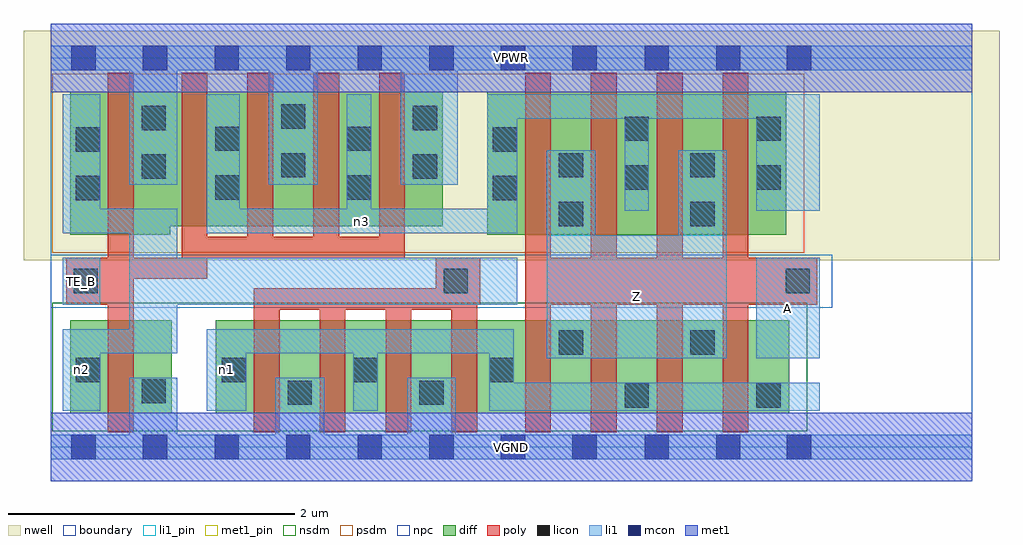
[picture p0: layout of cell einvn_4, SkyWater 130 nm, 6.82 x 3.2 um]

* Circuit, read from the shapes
.subckt einvn_4 A TE_B VGND VPWR Z n1 n2 n3
XM1 VGND TE_B n2 VSUBS sky130_fd_pr__nfet_01v8 w=0.65 l=0.18
XM2 VGND n2 n1 VSUBS sky130_fd_pr__nfet_01v8 w=0.65 l=0.18 m=4
XM3 Z A n1 VSUBS sky130_fd_pr__nfet_01v8 w=0.65 l=0.18 m=4
XM4 VPWR TE_B n2 n4 sky130_fd_pr__pfet_01v8 w=1 l=0.18
XM5 n3 TE_B VPWR n4 sky130_fd_pr__pfet_01v8 w=0.94 l=0.18 m=4
XM6 Z A n3 n4 sky130_fd_pr__pfet_01v8 w=1 l=0.18 m=4
.ends

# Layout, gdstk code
import gdstk
lib = gdstk.Library(unit=1e-6, precision=1e-09)
def R(c, l, rs):  # rectangles x0, y0, x1, y1
    for r in rs: c.add(gdstk.rectangle(r[:2], r[2:], *l))
def A(c, l, x, y, w, h, nx, ny, dx, dy):  # array of equal rectangles
    R(c, l, [(x+i*dx, y+j*dy, x+i*dx+w, y+j*dy+h) for i in range(nx) for j in range(ny)])
nwell = (64, 20)
diff = (65, 20)
poly = (66, 20)
licon = (66, 44)
li1_pin = (67, 16)
li1 = (67, 20)
mcon = (67, 44)
met1_pin = (68, 16)
met1 = (68, 20)
nsdm = (93, 44)
psdm = (94, 20)
npc = (95, 20)
boundary = (235, 4)

einvn_4 = lib.new_cell('einvn_4')
R(einvn_4, nwell, [(-0.19,1.305,6.63,2.91), (0,1.305,6.44,2.91)])
R(einvn_4, diff, [(0.135,0.235,0.845,0.885), (1.155,0.235,5.16,0.885), (0.135,1.485,0.835,2.485), (3.05,1.485,5.14,2.485), (0.135,1.545,2.74,2.485)])
A(einvn_4, poly, 1.42, 0.105, 0.18, 1.005, 3, 1, 0.46, 0)
A(einvn_4, poly, 3.315, 0.105, 0.18, 2.51, 4, 1, 0.46, 0)
A(einvn_4, poly, 1.375, 1.32, 0.18, 1.295, 3, 1, 0.46, 0)
R(einvn_4, poly, [(0.4,0.105,0.58,2.615), (2.8,0.105,2.98,1.325), (1.42,0.96,2.98,1.11), (0.11,0.995,0.58,1.325), (2.69,0.995,3,1.325), (3.315,0.995,5.355,1.325), (0.11,1.175,1.095,1.325), (0.915,1.175,1.095,2.615), (0.915,1.32,2.475,1.47)])
R(einvn_4, licon, [(4.01,0.275,4.18,0.445), (4.93,0.275,5.1,0.445), (1.655,0.295,1.825,0.465), (2.575,0.295,2.745,0.465), (0.635,0.305,0.805,0.475), (0.175,0.455,0.345,0.625), (1.195,0.455,1.365,0.625), (2.115,0.455,2.285,0.625), (3.065,0.455,3.235,0.625), (3.55,0.645,3.72,0.815), (4.47,0.645,4.64,0.815), (0.16,1.075,0.33,1.245), (2.745,1.075,2.915,1.245), (5.135,1.075,5.305,1.245), (3.55,1.545,3.72,1.715), (4.47,1.545,4.64,1.715), (0.175,1.725,0.345,1.895), (3.09,1.725,3.26,1.895), (1.15,1.73,1.32,1.9), (2.07,1.73,2.24,1.9), (4.01,1.8,4.18,1.97), (4.93,1.8,5.1,1.97), (0.635,1.875,0.805,2.045), (2.53,1.875,2.7,2.045), (1.61,1.885,1.78,2.055), (3.55,1.885,3.72,2.055), (4.47,1.885,4.64,2.055), (0.175,2.065,0.345,2.235), (3.09,2.065,3.26,2.235), (1.15,2.07,1.32,2.24), (2.07,2.07,2.24,2.24), (4.01,2.14,4.18,2.31), (4.93,2.14,5.1,2.31), (0.635,2.215,0.805,2.385), (2.53,2.215,2.7,2.385), (1.61,2.225,1.78,2.395)])
R(einvn_4, li1_pin, [(3.465,0.62,4.725,1.48), (4.93,0.62,5.375,1.325), (0.085,0.995,0.345,1.325)])
R(einvn_4, li1, [(0,-0.085,6.44,0.085), (0.55,-0.085,0.885,0.485), (1.57,-0.085,1.91,0.485), (2.49,-0.085,2.83,0.485), (0.085,0.255,0.345,0.825), (1.09,0.255,1.365,0.825), (2.115,0.255,2.285,0.825), (3.065,0.255,3.235,0.825), (3.065,0.255,5.375,0.45), (3.465,0.62,4.725,1.48), (3.465,0.62,3.805,2.075), (4.385,0.62,4.725,2.075), (4.93,0.62,5.375,1.325), (0.085,0.655,0.885,0.825), (0.55,0.655,0.885,1.665), (1.09,0.655,3.235,0.825), (0.085,0.995,0.345,1.325), (0.55,0.995,3.26,1.325), (0.085,1.495,0.885,1.665), (0.085,1.495,0.345,2.465), (1.09,1.495,3.26,1.665), (1.09,1.495,1.32,2.465), (2.07,1.495,2.24,2.465), (3.05,1.495,3.26,2.465), (4.01,1.65,4.18,2.465), (4.93,1.65,5.375,2.465), (0.55,1.835,0.885,2.805), (1.525,1.835,1.865,2.805), (2.445,1.835,2.845,2.805), (3.05,2.295,5.375,2.465), (0,2.635,6.44,2.805)])
A(einvn_4, mcon, 0.145, -0.085, 0.17, 0.17, 8, 2, 0.5, 2.72)
R(einvn_4, mcon, [(4.15,-0.085,4.32,0.085), (4.65,-0.085,4.82,0.085), (5.145,-0.085,5.315,0.085), (4.15,2.635,4.32,2.805), (4.65,2.635,4.82,2.805), (5.145,2.635,5.315,2.805)])
R(einvn_4, met1_pin, [(0,-0.24,6.44,0.24), (0,2.48,6.44,2.96)])
R(einvn_4, met1, [(0,-0.24,6.44,0.24), (0,2.48,6.44,2.96)])
R(einvn_4, nsdm, [(0.01,0.11,5.285,1.01)])
R(einvn_4, psdm, [(0.01,1.36,5.265,2.61)])
R(einvn_4, npc, [(0,0.975,5.46,1.345)])
R(einvn_4, boundary, [(0,0,6.44,2.72)])
einvn_4.add(gdstk.Label('A', (5.152,0.972), layer=67, texttype=5))
einvn_4.add(gdstk.Label('TE_B', (0.215,1.16), layer=67, texttype=5))
einvn_4.add(gdstk.Label('Z', (4.095,1.05), layer=67, texttype=5))
einvn_4.add(gdstk.Label('n1', (1.227,0.54), layer=67, texttype=5))
einvn_4.add(gdstk.Label('n2', (0.215,0.54), layer=67, texttype=5))
einvn_4.add(gdstk.Label('n3', (2.175,1.58), layer=67, texttype=5))
einvn_4.add(gdstk.Label('VPWR', (3.22,2.72), layer=68, texttype=5))
einvn_4.add(gdstk.Label('VGND', (3.22,0), layer=68, texttype=5))
einvn_4.add(gdstk.Label('A', (5.152,0.972), layer=67, texttype=16))
einvn_4.add(gdstk.Label('TE_B', (0.215,1.16), layer=67, texttype=16))
einvn_4.add(gdstk.Label('Z', (4.095,1.05), layer=67, texttype=16))
einvn_4.add(gdstk.Label('VPWR', (3.22,2.72), layer=68, texttype=16))
einvn_4.add(gdstk.Label('VGND', (3.22,0), layer=68, texttype=16))

lib.write_gds('einvn_4.gds')
